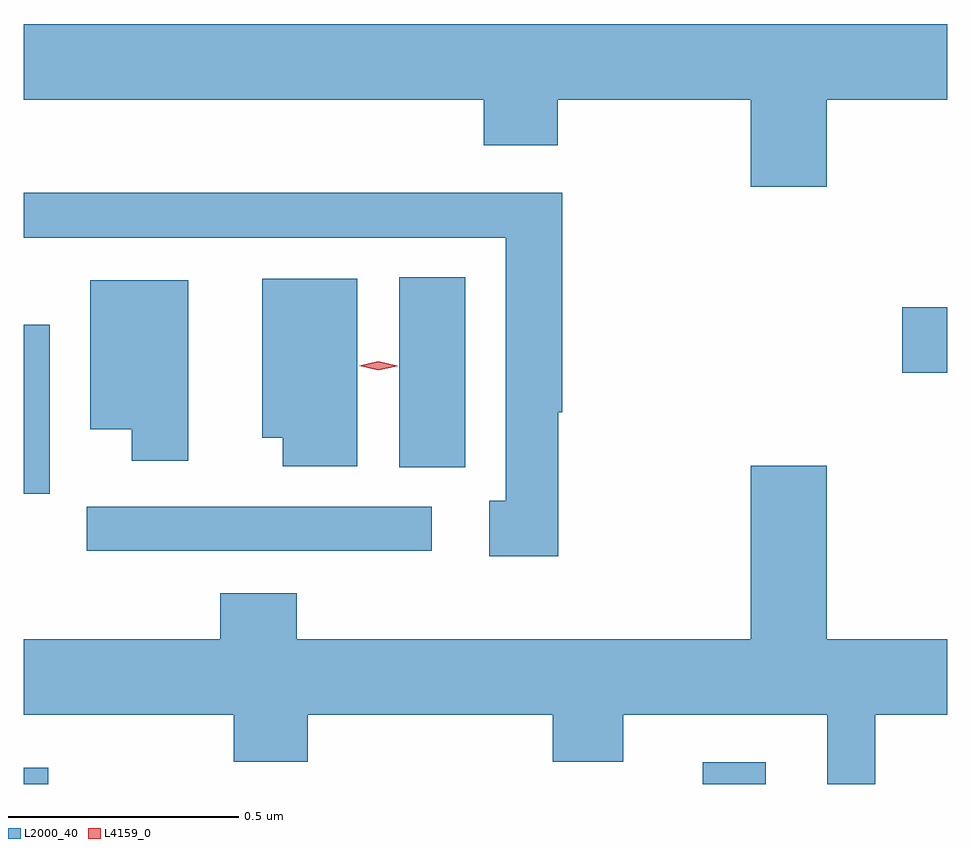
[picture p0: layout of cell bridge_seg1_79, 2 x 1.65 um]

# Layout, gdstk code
import gdstk
lib = gdstk.Library(unit=1e-6, precision=1e-09)
def R(c, l, rs):  # rectangles x0, y0, x1, y1
    for r in rs: c.add(gdstk.rectangle(r[:2], r[2:], *l))
def P(c, l, *ps):  # polygons
    for p in ps: c.add(gdstk.Polygon(p, *l))
L2000_40 = (2000, 40)
L4159_0 = (4159, 0)

bridge_seg1_79 = lib.new_cell('bridge_seg1_79')
R(bridge_seg1_79, L2000_40, [(571.025,524.942,571.078,524.977), (572.495,524.942,572.632,524.989), (571.161,525.447,571.909,525.543), (571.025,525.571,571.081,525.937), (571.838,525.628,571.981,526.04), (572.928,525.833,573.025,525.975)])
P(bridge_seg1_79, L2000_40, [(572.764,526.424),(573.025,526.424),(573.025,526.588),(571.025,526.588),(571.025,526.424),(572.021,526.424),(572.021,526.325),(572.181,526.325),(572.181,526.424),(572.6,526.424),(572.6,526.236),(572.764,526.236)],
  [(572.183,525.747),(572.191,525.747),(572.191,526.223),(571.025,526.223),(571.025,526.125),(572.069,526.125),(572.069,525.555),(572.033,525.555),(572.033,525.435),(572.183,525.435)],
  [(571.747,526.036),(571.541,526.036),(571.541,525.692),(571.586,525.692),(571.586,525.63),(571.747,525.63)],
  [(571.381,526.033),(571.169,526.033),(571.169,525.71),(571.259,525.71),(571.259,525.642),(571.381,525.642)],
  [(572.869,525.092),(573.025,525.092),(573.025,525.256),(572.764,525.256),(572.764,525.631),(572.6,525.631),(572.6,525.256),(571.616,525.256),(571.616,525.355),(571.451,525.355),(571.451,525.256),(571.025,525.256),(571.025,525.092),(571.48,525.092),(571.48,524.99),(571.64,524.99),(571.64,525.092),(572.171,525.092),(572.171,524.99),(572.323,524.99),(572.323,525.092),(572.765,525.092),(572.765,524.942),(572.869,524.942)])
P(bridge_seg1_79, L4159_0, [(571.793,525.838),(571.752,525.848),(571.752,525.848),(571.752,525.848),(571.793,525.858),(571.834,525.848),(571.834,525.848),(571.834,525.847)])

lib.write_gds('bridge_seg1_79.gds')
